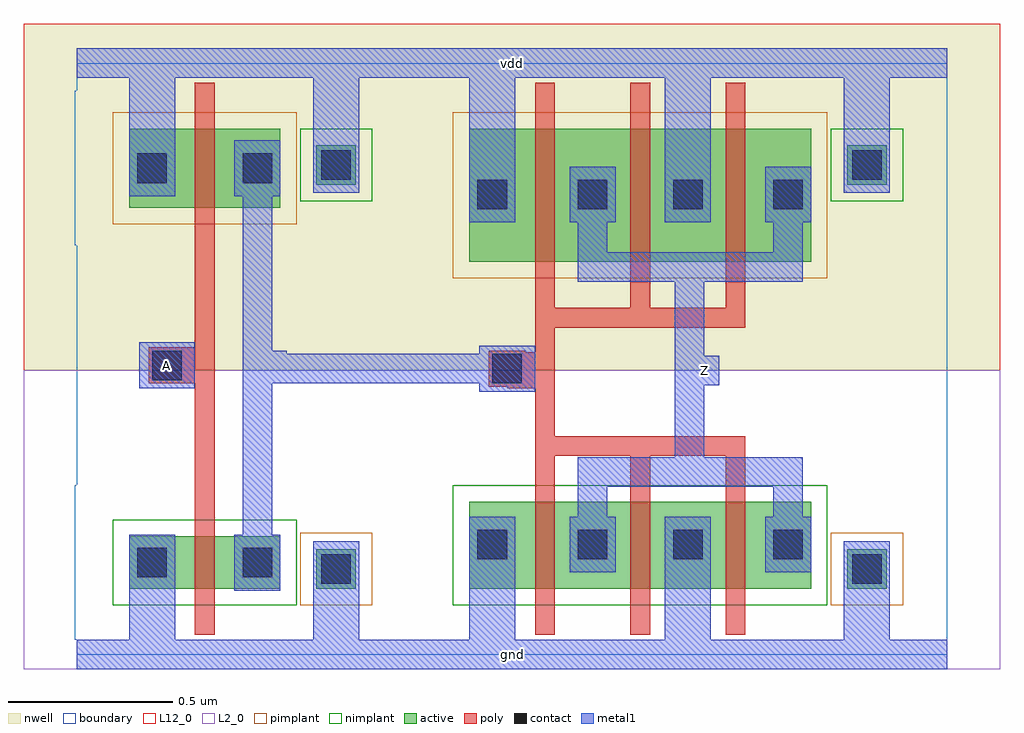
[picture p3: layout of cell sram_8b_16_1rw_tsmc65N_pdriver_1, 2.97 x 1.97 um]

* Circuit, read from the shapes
.subckt sram_8b_16_1rw_tsmc65N_pdriver_1 A Z gnd vdd
M1 sram_8b_16_1rw_tsmc65N_pinv_9_1/A A gnd gnd nfet w=0.16u l=0.06u
M2 Z sram_8b_16_1rw_tsmc65N_pinv_9_1/A gnd gnd nfet w=0.265u l=0.06u m=3
M3 sram_8b_16_1rw_tsmc65N_pinv_9_1/A A vdd vdd pfet w=0.24u l=0.06u
M4 Z sram_8b_16_1rw_tsmc65N_pinv_9_1/A vdd vdd pfet w=0.405u l=0.06u m=3
.ends

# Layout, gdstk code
import gdstk
lib = gdstk.Library(unit=1e-6, precision=1e-09)
def R(c, l, rs):  # rectangles x0, y0, x1, y1
    for r in rs: c.add(gdstk.rectangle(r[:2], r[2:], *l))
def A(c, l, x, y, w, h, nx, ny, dx, dy):  # array of equal rectangles
    R(c, l, [(x+i*dx, y+j*dy, x+i*dx+w, y+j*dy+h) for i in range(nx) for j in range(ny)])
L2_0 = (2, 0)
nwell = (3, 0)
active = (6, 0)
L12_0 = (12, 0)
poly = (17, 0)
pimplant = (25, 0)
nimplant = (26, 0)
contact = (30, 0)
metal1 = (31, 0)
boundary = (108, 0)

sram_8b_16_1rw_tsmc65n_c = lib.new_cell('sram_8b_16_1rw_tsmc65N_contact_11')
R(sram_8b_16_1rw_tsmc65n_c, nwell, [(-0.165,-0.15,0.305,0.32)])
R(sram_8b_16_1rw_tsmc65n_c, active, [(0.01,0.025,0.13,0.145)])
R(sram_8b_16_1rw_tsmc65n_c, pimplant, [(-0.04,-0.025,0.18,0.195)])
R(sram_8b_16_1rw_tsmc65n_c, contact, [(0.025,0.04,0.115,0.13)])
R(sram_8b_16_1rw_tsmc65n_c, metal1, [(0,0,0.14,0.17)])
R(sram_8b_16_1rw_tsmc65n_c, boundary, [(-0.165,-0.15,0.305,0.32)])

sram_8b_16_1rw_tsmc65n_p = lib.new_cell('sram_8b_16_1rw_tsmc65N_pmos_m1_w0_240_sm1_dm1_da_p')
R(sram_8b_16_1rw_tsmc65n_p, nwell, [(-0.16,-0.16,0.62,0.4)])
R(sram_8b_16_1rw_tsmc65n_p, active, [(0,0,0.46,0.24)])
R(sram_8b_16_1rw_tsmc65n_p, L12_0, [(-0.16,-0.16,0.62,0.4)])
R(sram_8b_16_1rw_tsmc65n_p, poly, [(0.2,-0.14,0.26,0.38), (0.2,-0.14,0.26,0.38)])
R(sram_8b_16_1rw_tsmc65n_p, pimplant, [(-0.05,-0.05,0.51,0.29)])
R(sram_8b_16_1rw_tsmc65n_p, metal1, [(0,0.035,0.14,0.205), (0.32,0.035,0.46,0.205)])
R(sram_8b_16_1rw_tsmc65n_p, boundary, [(-0.16,-0.16,0.62,0.4)])
sram_8b_16_1rw_tsmc65n_p.add(gdstk.Reference(sram_8b_16_1rw_tsmc65n_c, (0,0.035)))
sram_8b_16_1rw_tsmc65n_p.add(gdstk.Reference(sram_8b_16_1rw_tsmc65n_c, (0.32,0.035)))
sram_8b_16_1rw_tsmc65n_p.add(gdstk.Label('G', (0.23,0.12), layer=17, texttype=0))
sram_8b_16_1rw_tsmc65n_p.add(gdstk.Label('S', (0.07,0.12), layer=31, texttype=0))
sram_8b_16_1rw_tsmc65n_p.add(gdstk.Label('D', (0.39,0.12), layer=31, texttype=0))

c_sram_8b_16_1rw_tsmc65n_c = lib.new_cell('sram_8b_16_1rw_tsmc65N_contact_10')
R(c_sram_8b_16_1rw_tsmc65n_c, L2_0, [(-0.165,-0.15,0.305,0.32)])
R(c_sram_8b_16_1rw_tsmc65n_c, active, [(0.01,0.025,0.13,0.145)])
R(c_sram_8b_16_1rw_tsmc65n_c, nimplant, [(-0.04,-0.025,0.18,0.195)])
R(c_sram_8b_16_1rw_tsmc65n_c, contact, [(0.025,0.04,0.115,0.13)])
R(c_sram_8b_16_1rw_tsmc65n_c, metal1, [(0,0,0.14,0.17)])
R(c_sram_8b_16_1rw_tsmc65n_c, boundary, [(-0.165,-0.15,0.305,0.32)])

sram_8b_16_1rw_tsmc65n_n = lib.new_cell('sram_8b_16_1rw_tsmc65N_nmos_m1_w0_160_sm1_dm1_da_p')
R(sram_8b_16_1rw_tsmc65n_n, L2_0, [(-0.16,-0.16,0.62,0.32)])
R(sram_8b_16_1rw_tsmc65n_n, active, [(0,0,0.46,0.16)])
R(sram_8b_16_1rw_tsmc65n_n, L12_0, [(-0.16,-0.16,0.62,0.32)])
R(sram_8b_16_1rw_tsmc65n_n, poly, [(0.2,-0.14,0.26,0.3), (0.2,-0.14,0.26,0.3)])
R(sram_8b_16_1rw_tsmc65n_n, nimplant, [(-0.05,-0.05,0.51,0.21)])
R(sram_8b_16_1rw_tsmc65n_n, metal1, [(0,-0.005,0.14,0.165), (0.32,-0.005,0.46,0.165)])
R(sram_8b_16_1rw_tsmc65n_n, boundary, [(-0.16,-0.16,0.62,0.32)])
sram_8b_16_1rw_tsmc65n_n.add(gdstk.Reference(c_sram_8b_16_1rw_tsmc65n_c, (0,-0.005)))
sram_8b_16_1rw_tsmc65n_n.add(gdstk.Reference(c_sram_8b_16_1rw_tsmc65n_c, (0.32,-0.005)))
sram_8b_16_1rw_tsmc65n_n.add(gdstk.Label('G', (0.23,0.08), layer=17, texttype=0))
sram_8b_16_1rw_tsmc65n_n.add(gdstk.Label('S', (0.07,0.08), layer=31, texttype=0))
sram_8b_16_1rw_tsmc65n_n.add(gdstk.Label('D', (0.39,0.08), layer=31, texttype=0))

c_sram_8b_16_1rw_tsmc65n_c_ = lib.new_cell('sram_8b_16_1rw_tsmc65N_contact_12')
R(c_sram_8b_16_1rw_tsmc65n_c_, nwell, [(-0.165,-0.15,0.305,0.32)])
R(c_sram_8b_16_1rw_tsmc65n_c_, active, [(0.01,0.025,0.13,0.145)])
R(c_sram_8b_16_1rw_tsmc65n_c_, nimplant, [(-0.04,-0.025,0.18,0.195)])
R(c_sram_8b_16_1rw_tsmc65n_c_, contact, [(0.025,0.04,0.115,0.13)])
R(c_sram_8b_16_1rw_tsmc65n_c_, metal1, [(0,0,0.14,0.17)])
R(c_sram_8b_16_1rw_tsmc65n_c_, boundary, [(-0.165,-0.15,0.305,0.32)])

c_sram_8b_16_1rw_tsmc65n_c__ = lib.new_cell('sram_8b_16_1rw_tsmc65N_contact_13')
R(c_sram_8b_16_1rw_tsmc65n_c__, L2_0, [(-0.165,-0.15,0.305,0.32)])
R(c_sram_8b_16_1rw_tsmc65n_c__, active, [(0.01,0.025,0.13,0.145)])
R(c_sram_8b_16_1rw_tsmc65n_c__, pimplant, [(-0.04,-0.025,0.18,0.195)])
R(c_sram_8b_16_1rw_tsmc65n_c__, contact, [(0.025,0.04,0.115,0.13)])
R(c_sram_8b_16_1rw_tsmc65n_c__, metal1, [(0,0,0.14,0.17)])
R(c_sram_8b_16_1rw_tsmc65n_c__, boundary, [(-0.165,-0.15,0.305,0.32)])

c_sram_8b_16_1rw_tsmc65n_c___ = lib.new_cell('sram_8b_16_1rw_tsmc65N_contact_14')
R(c_sram_8b_16_1rw_tsmc65n_c___, poly, [(0.03,0.015,0.14,0.125)])
R(c_sram_8b_16_1rw_tsmc65n_c___, contact, [(0.04,0.025,0.13,0.115)])
R(c_sram_8b_16_1rw_tsmc65n_c___, metal1, [(0,0,0.17,0.14)])
R(c_sram_8b_16_1rw_tsmc65n_c___, boundary, [(0,0,0.17,0.14)])

c_sram_8b_16_1rw_tsmc65n_p = lib.new_cell('sram_8b_16_1rw_tsmc65N_pinv_5')
R(c_sram_8b_16_1rw_tsmc65n_p, L2_0, [(-0.16,-0.045,1.195,0.865)])
R(c_sram_8b_16_1rw_tsmc65n_p, nwell, [(-0.16,0.865,1.195,1.92)])
R(c_sram_8b_16_1rw_tsmc65n_p, L12_0, [(-0.16,-0.045,1.195,0.865), (-0.16,0.865,1.195,1.92)])
R(c_sram_8b_16_1rw_tsmc65n_p, poly, [(0.36,0.5,0.42,1.22), (0.275,0.825,0.36,0.935)])
R(c_sram_8b_16_1rw_tsmc65n_p, metal1, [(0,-0.045,1.035,0.045), (0.16,-0.045,0.3,0.195), (0.72,0,0.86,0.26), (0.505,0.195,0.595,1.565), (0.19,0.81,0.36,0.95), (0.55,0.835,0.64,0.925), (0.16,1.395,0.3,1.845), (0.72,1.49,0.86,1.8), (0,1.755,1.035,1.845)])
R(c_sram_8b_16_1rw_tsmc65n_p, boundary, [(0,0,1.035,1.8), (0,0,1.035,1.8)])
c_sram_8b_16_1rw_tsmc65n_p.add(gdstk.Reference(sram_8b_16_1rw_tsmc65n_p, (0.16,1.36)))
c_sram_8b_16_1rw_tsmc65n_p.add(gdstk.Reference(sram_8b_16_1rw_tsmc65n_n, (0.16,0.2)))
c_sram_8b_16_1rw_tsmc65n_p.add(gdstk.Reference(c_sram_8b_16_1rw_tsmc65n_c_, (0.72,1.405)))
c_sram_8b_16_1rw_tsmc65n_p.add(gdstk.Reference(c_sram_8b_16_1rw_tsmc65n_c__, (0.72,0.175)))
c_sram_8b_16_1rw_tsmc65n_p.add(gdstk.Reference(c_sram_8b_16_1rw_tsmc65n_c___, (0.19,0.81)))
c_sram_8b_16_1rw_tsmc65n_p.add(gdstk.Label('A', (0.275,0.88), layer=31, texttype=0))
c_sram_8b_16_1rw_tsmc65n_p.add(gdstk.Label('Z', (0.595,0.88), layer=31, texttype=0))
c_sram_8b_16_1rw_tsmc65n_p.add(gdstk.Label('gnd', (0.518,0), layer=31, texttype=0))
c_sram_8b_16_1rw_tsmc65n_p.add(gdstk.Label('vdd', (0.518,1.8), layer=31, texttype=0))

c_sram_8b_16_1rw_tsmc65n_p_ = lib.new_cell('sram_8b_16_1rw_tsmc65N_pmos_m3_w0_405_sm1_dm1_da_p')
R(c_sram_8b_16_1rw_tsmc65n_p_, nwell, [(-0.16,-0.16,1.2,0.565)])
R(c_sram_8b_16_1rw_tsmc65n_p_, active, [(0,0,1.04,0.405)])
R(c_sram_8b_16_1rw_tsmc65n_p_, L12_0, [(-0.16,-0.16,1.2,0.565)])
A(c_sram_8b_16_1rw_tsmc65n_p_, poly, 0.2, -0.14, 0.06, 0.685, 3, 1, 0.29, 0)
R(c_sram_8b_16_1rw_tsmc65n_p_, poly, [(0.2,-0.2,0.84,-0.14)])
R(c_sram_8b_16_1rw_tsmc65n_p_, pimplant, [(-0.05,-0.05,1.09,0.455)])
R(c_sram_8b_16_1rw_tsmc65n_p_, metal1, [(0.33,-0.06,1.015,0.03), (0.33,-0.02,0.42,0.2), (0.925,-0.02,1.015,0.2), (0,0.12,0.14,0.29), (0.595,0.12,0.735,0.29)])
R(c_sram_8b_16_1rw_tsmc65n_p_, boundary, [(-0.16,-0.2,1.2,0.565)])
c_sram_8b_16_1rw_tsmc65n_p_.add(gdstk.Reference(sram_8b_16_1rw_tsmc65n_c, (0,0.12)))
c_sram_8b_16_1rw_tsmc65n_p_.add(gdstk.Reference(sram_8b_16_1rw_tsmc65n_c, (0.305,0.12)))
c_sram_8b_16_1rw_tsmc65n_p_.add(gdstk.Reference(sram_8b_16_1rw_tsmc65n_c, (0.595,0.12)))
c_sram_8b_16_1rw_tsmc65n_p_.add(gdstk.Reference(sram_8b_16_1rw_tsmc65n_c, (0.9,0.12)))
c_sram_8b_16_1rw_tsmc65n_p_.add(gdstk.Label('G', (0.52,-0.17), layer=17, texttype=0))
c_sram_8b_16_1rw_tsmc65n_p_.add(gdstk.Label('S', (0.665,0.205), layer=31, texttype=0))
c_sram_8b_16_1rw_tsmc65n_p_.add(gdstk.Label('S', (0.07,0.205), layer=31, texttype=0))
c_sram_8b_16_1rw_tsmc65n_p_.add(gdstk.Label('D', (0.673,-0.015), layer=31, texttype=0))

c_sram_8b_16_1rw_tsmc65n_n = lib.new_cell('sram_8b_16_1rw_tsmc65N_nmos_m3_w0_265_sm1_dm1_da_p')
R(c_sram_8b_16_1rw_tsmc65n_n, L2_0, [(-0.16,-0.16,1.2,0.425)])
R(c_sram_8b_16_1rw_tsmc65n_n, active, [(0,0,1.04,0.265)])
R(c_sram_8b_16_1rw_tsmc65n_n, L12_0, [(-0.16,-0.16,1.2,0.425)])
A(c_sram_8b_16_1rw_tsmc65n_n, poly, 0.2, -0.14, 0.06, 0.545, 3, 1, 0.29, 0)
R(c_sram_8b_16_1rw_tsmc65n_n, poly, [(0.2,0.405,0.84,0.465)])
R(c_sram_8b_16_1rw_tsmc65n_n, nimplant, [(-0.05,-0.05,1.09,0.315)])
R(c_sram_8b_16_1rw_tsmc65n_n, metal1, [(0,0.05,0.14,0.22), (0.595,0.05,0.735,0.22), (0.33,0.13,0.42,0.35), (0.925,0.13,1.015,0.35), (0.33,0.31,1.015,0.4)])
R(c_sram_8b_16_1rw_tsmc65n_n, boundary, [(-0.16,-0.16,1.2,0.465)])
c_sram_8b_16_1rw_tsmc65n_n.add(gdstk.Reference(c_sram_8b_16_1rw_tsmc65n_c, (0,0.05)))
c_sram_8b_16_1rw_tsmc65n_n.add(gdstk.Reference(c_sram_8b_16_1rw_tsmc65n_c, (0.305,0.05)))
c_sram_8b_16_1rw_tsmc65n_n.add(gdstk.Reference(c_sram_8b_16_1rw_tsmc65n_c, (0.595,0.05)))
c_sram_8b_16_1rw_tsmc65n_n.add(gdstk.Reference(c_sram_8b_16_1rw_tsmc65n_c, (0.9,0.05)))
c_sram_8b_16_1rw_tsmc65n_n.add(gdstk.Label('G', (0.52,0.435), layer=17, texttype=0))
c_sram_8b_16_1rw_tsmc65n_n.add(gdstk.Label('S', (0.07,0.135), layer=31, texttype=0))
c_sram_8b_16_1rw_tsmc65n_n.add(gdstk.Label('S', (0.665,0.135), layer=31, texttype=0))
c_sram_8b_16_1rw_tsmc65n_n.add(gdstk.Label('D', (0.673,0.355), layer=31, texttype=0))

c_sram_8b_16_1rw_tsmc65n_p__ = lib.new_cell('sram_8b_16_1rw_tsmc65N_pinv_9')
R(c_sram_8b_16_1rw_tsmc65n_p__, L2_0, [(-0.16,-0.045,1.775,0.865)])
R(c_sram_8b_16_1rw_tsmc65n_p__, nwell, [(-0.16,0.865,1.775,1.92)])
R(c_sram_8b_16_1rw_tsmc65n_p__, L12_0, [(-0.16,-0.045,1.775,0.865), (-0.16,0.865,1.775,1.92)])
R(c_sram_8b_16_1rw_tsmc65n_p__, poly, [(0.36,0.665,0.42,0.995), (0.275,0.81,0.36,0.92)])
R(c_sram_8b_16_1rw_tsmc65n_p__, metal1, [(0,-0.045,1.615,0.045), (0.16,-0.045,0.3,0.25), (0.755,-0.045,0.895,0.25), (1.3,0,1.44,0.26), (0.785,0.51,0.875,1.225), (0.19,0.8,0.36,0.94), (0.83,0.82,0.92,0.91), (0.16,1.315,0.3,1.845), (0.755,1.315,0.895,1.845), (1.3,1.49,1.44,1.8), (0,1.755,1.615,1.845)])
R(c_sram_8b_16_1rw_tsmc65n_p__, boundary, [(0,0,1.615,1.8), (0,0,1.615,1.8)])
c_sram_8b_16_1rw_tsmc65n_p__.add(gdstk.Reference(c_sram_8b_16_1rw_tsmc65n_p_, (0.16,1.195)))
c_sram_8b_16_1rw_tsmc65n_p__.add(gdstk.Reference(c_sram_8b_16_1rw_tsmc65n_n, (0.16,0.2)))
c_sram_8b_16_1rw_tsmc65n_p__.add(gdstk.Reference(c_sram_8b_16_1rw_tsmc65n_c_, (1.3,1.405)))
c_sram_8b_16_1rw_tsmc65n_p__.add(gdstk.Reference(c_sram_8b_16_1rw_tsmc65n_c__, (1.3,0.175)))
c_sram_8b_16_1rw_tsmc65n_p__.add(gdstk.Reference(c_sram_8b_16_1rw_tsmc65n_c___, (0.19,0.8)))
c_sram_8b_16_1rw_tsmc65n_p__.add(gdstk.Label('A', (0.275,0.87), layer=31, texttype=0))
c_sram_8b_16_1rw_tsmc65n_p__.add(gdstk.Label('Z', (0.875,0.865), layer=31, texttype=0))
c_sram_8b_16_1rw_tsmc65n_p__.add(gdstk.Label('gnd', (0.808,0), layer=31, texttype=0))
c_sram_8b_16_1rw_tsmc65n_p__.add(gdstk.Label('vdd', (0.808,1.8), layer=31, texttype=0))

c_sram_8b_16_1rw_tsmc65n_p___ = lib.new_cell('sram_8b_16_1rw_tsmc65N_pdriver_1')
R(c_sram_8b_16_1rw_tsmc65n_p___, L2_0, [(-0.16,-0.045,2.81,0.865)])
R(c_sram_8b_16_1rw_tsmc65n_p___, nwell, [(-0.16,0.865,2.81,1.92)])
R(c_sram_8b_16_1rw_tsmc65n_p___, L12_0, [(-0.16,-0.045,2.81,0.865), (-0.16,0.865,2.81,1.92)])
R(c_sram_8b_16_1rw_tsmc65n_p___, metal1, [(0,-0.045,2.65,0.045), (0.19,0.81,0.36,0.95), (1.865,0.82,1.955,0.91), (0.55,0.825,0.64,0.915), (0.595,0.825,1.31,0.915), (0.55,0.87,0.64,0.88), (0,1.755,2.65,1.845)])
R(c_sram_8b_16_1rw_tsmc65n_p___, boundary, [(0,0,2.65,1.8), (0,0,2.65,1.8)])
c_sram_8b_16_1rw_tsmc65n_p___.add(gdstk.Reference(c_sram_8b_16_1rw_tsmc65n_p, (0,0)))
c_sram_8b_16_1rw_tsmc65n_p___.add(gdstk.Reference(c_sram_8b_16_1rw_tsmc65n_p__, (1.035,0)))
c_sram_8b_16_1rw_tsmc65n_p___.add(gdstk.Label('Z', (1.91,0.865), layer=31, texttype=0))
c_sram_8b_16_1rw_tsmc65n_p___.add(gdstk.Label('A', (0.275,0.88), layer=31, texttype=0))
c_sram_8b_16_1rw_tsmc65n_p___.add(gdstk.Label('gnd', (1.325,0), layer=31, texttype=0))
c_sram_8b_16_1rw_tsmc65n_p___.add(gdstk.Label('vdd', (1.325,1.8), layer=31, texttype=0))

lib.write_gds('sram_8b_16_1rw_tsmc65N_pdriver_1.gds')
